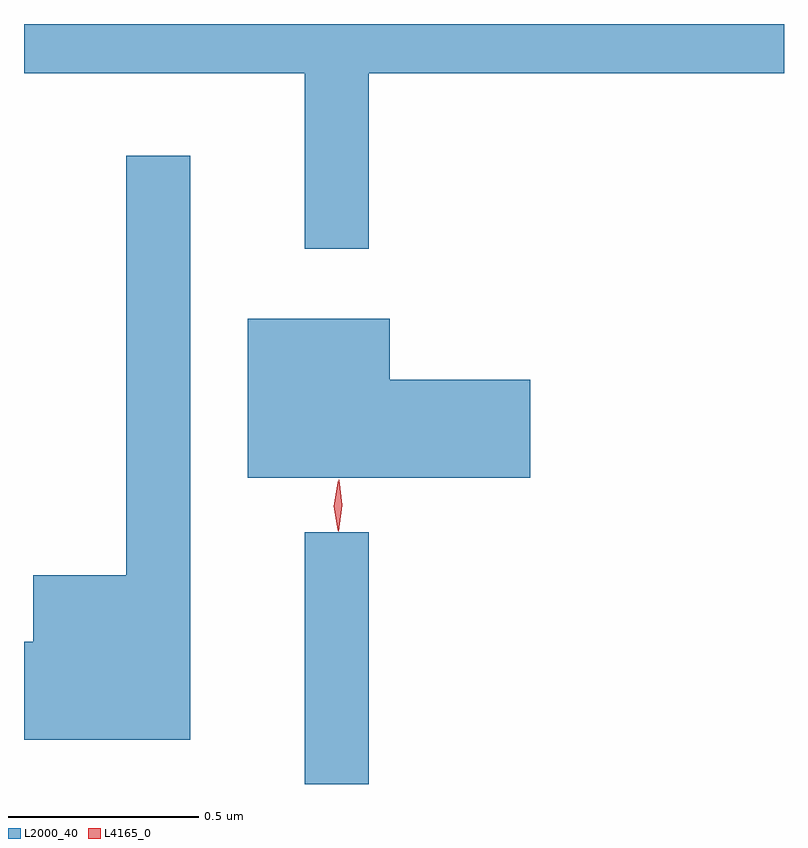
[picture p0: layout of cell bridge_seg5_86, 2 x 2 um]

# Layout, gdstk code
import gdstk
lib = gdstk.Library(unit=1e-6, precision=1e-09)
def R(c, l, rs):  # rectangles x0, y0, x1, y1
    for r in rs: c.add(gdstk.rectangle(r[:2], r[2:], *l))
def P(c, l, *ps):  # polygons
    for p in ps: c.add(gdstk.Polygon(p, *l))
L2000_40 = (2000, 40)
L4165_0 = (4165, 0)

bridge_seg5_86 = lib.new_cell('bridge_seg5_86')
R(bridge_seg5_86, L2000_40, [(1225.371,1501.545,1225.539,1502.208)])
P(bridge_seg5_86, L2000_40, [(1225.539,1503.416),(1226.632,1503.416),(1226.632,1503.545),(1224.632,1503.545),(1224.632,1503.416),(1225.371,1503.416),(1225.371,1502.953),(1225.539,1502.953)],
  [(1225.069,1503.198),(1224.901,1503.198),(1224.901,1502.094),(1224.656,1502.094),(1224.656,1501.919),(1224.632,1501.919),(1224.632,1501.661),(1225.069,1501.661)],
  [(1225.964,1502.609),(1225.594,1502.609),(1225.594,1502.769),(1225.221,1502.769),(1225.221,1502.351),(1225.964,1502.351)])
P(bridge_seg5_86, L4165_0, [(1225.457,1502.213),(1225.457,1502.214),(1225.447,1502.276),(1225.457,1502.339),(1225.457,1502.34),(1225.458,1502.339),(1225.467,1502.276),(1225.458,1502.214)],
  [(1225.459,1502.21),(1225.459,1502.21),(1225.45,1502.278),(1225.46,1502.346),(1225.461,1502.346),(1225.461,1502.346),(1225.47,1502.278),(1225.46,1502.21)])

lib.write_gds('bridge_seg5_86.gds')
